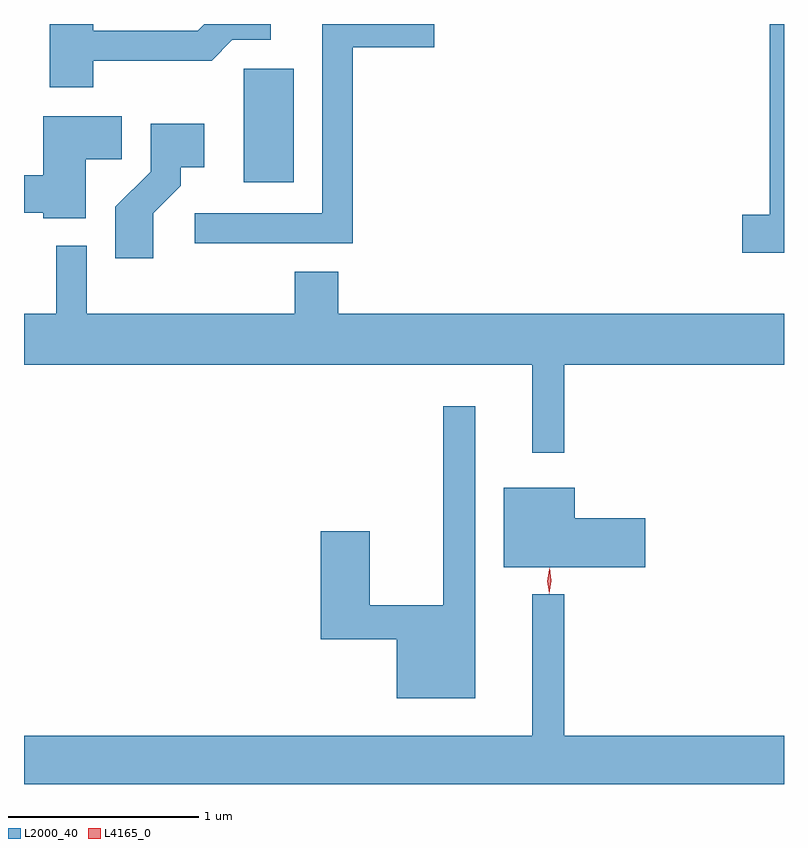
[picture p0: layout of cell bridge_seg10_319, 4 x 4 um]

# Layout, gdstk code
import gdstk
lib = gdstk.Library(unit=1e-6, precision=1e-09)
def R(c, l, rs):  # rectangles x0, y0, x1, y1
    for r in rs: c.add(gdstk.rectangle(r[:2], r[2:], *l))
def P(c, l, *ps):  # polygons
    for p in ps: c.add(gdstk.Polygon(p, *l))
L2000_40 = (2000, 40)
L4165_0 = (4165, 0)

bridge_seg10_319 = lib.new_cell('bridge_seg10_319')
R(bridge_seg10_319, L2000_40, [(1328.561,2157.056,1328.824,2157.654)])
P(bridge_seg10_319, L2000_40, [(1327.769,2157.696),(1328.392,2157.696),(1328.502,2157.806),(1328.703,2157.806),(1328.703,2157.889),(1328.354,2157.889),(1328.319,2157.854),(1327.769,2157.854),(1327.769,2157.889),(1327.541,2157.889),(1327.541,2157.556),(1327.769,2157.556)],
  [(1331.405,2157.889),(1331.331,2157.889),(1331.331,2156.884),(1331.186,2156.884),(1331.186,2156.686),(1331.405,2156.686)],
  [(1329.134,2157.766),(1329.564,2157.766),(1329.564,2157.889),(1328.976,2157.889),(1328.976,2156.894),(1328.303,2156.894),(1328.303,2156.736),(1329.134,2156.736)],
  [(1327.729,2157.176),(1327.919,2157.176),(1327.919,2157.404),(1327.506,2157.404),(1327.506,2157.094),(1327.405,2157.094),(1327.405,2156.896),(1327.506,2156.896),(1327.506,2156.866),(1327.729,2156.866)],
  [(1328.084,2156.894),(1328.229,2157.039),(1328.229,2157.136),(1328.354,2157.136),(1328.354,2157.364),(1328.071,2157.364),(1328.071,2157.112),(1327.886,2156.927),(1327.886,2156.656),(1328.084,2156.656)],
  [(1330.249,2156.096),(1331.405,2156.096),(1331.405,2156.364),(1329.059,2156.364),(1329.059,2156.584),(1328.831,2156.584),(1328.831,2156.364),(1327.734,2156.364),(1327.734,2156.723),(1327.576,2156.723),(1327.576,2156.364),(1327.405,2156.364),(1327.405,2156.096),(1330.081,2156.096),(1330.081,2155.633),(1330.249,2155.633)],
  [(1329.779,2155.878),(1329.611,2155.878),(1329.611,2154.829),(1329.224,2154.829),(1329.224,2155.219),(1328.966,2155.219),(1328.966,2154.651),(1329.366,2154.651),(1329.366,2154.341),(1329.779,2154.341)],
  [(1330.674,2155.289),(1330.304,2155.289),(1330.304,2155.449),(1329.931,2155.449),(1329.931,2155.031),(1330.674,2155.031)],
  [(1331.405,2154.144),(1330.249,2154.144),(1330.249,2154.888),(1330.081,2154.888),(1330.081,2154.144),(1327.405,2154.144),(1327.405,2153.889),(1331.405,2153.889)])
P(bridge_seg10_319, L4165_0, [(1330.169,2154.89),(1330.161,2154.958),(1330.171,2155.026),(1330.171,2155.026),(1330.172,2155.026),(1330.181,2154.958),(1330.17,2154.89),(1330.17,2154.89)],
  [(1330.17,2154.893),(1330.169,2154.894),(1330.16,2154.956),(1330.169,2155.019),(1330.17,2155.02),(1330.17,2155.019),(1330.18,2154.956),(1330.17,2154.894)])

lib.write_gds('bridge_seg10_319.gds')
